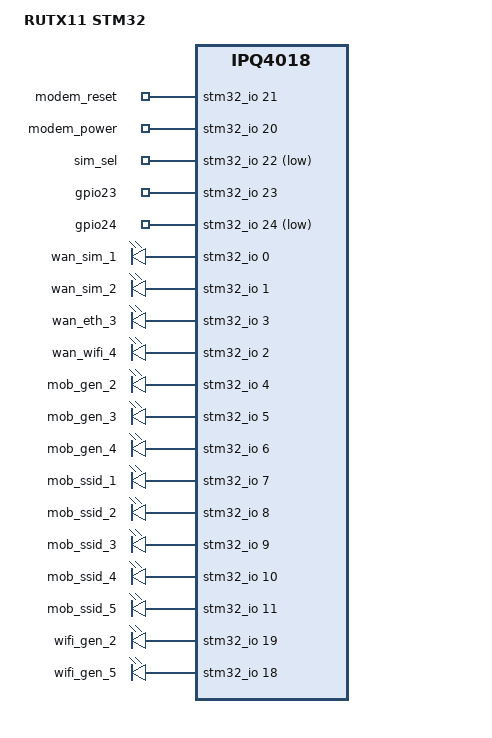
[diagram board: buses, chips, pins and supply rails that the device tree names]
#include "qcom-ipq4018-rutx-STM32.dtsi"

/ {
	model = "RUTX11 STM32";

	soc {
		gpio-export {
			compatible = "gpio-export";
			#size-cells = <0>;

			gpio_modem_reset {
				gpio-export,name = "modem_reset";
				gpio-export,output = <0>;
				gpios = <&stm32_io 21 GPIO_ACTIVE_HIGH>;
			};

			gpio_modem_power {
				gpio-export,name = "modem_power";
				gpio-export,output = <0>;
				gpios = <&stm32_io 20 GPIO_ACTIVE_HIGH>;
			};

			gpio_sim_select {
				gpio-export,name = "sim_sel";
				gpio-export,output = <1>;
				gpios = <&stm32_io 22 GPIO_ACTIVE_LOW>;
			};

			gpio_out_1 {
				gpio-export,name = "gpio23";
				gpio-export,output = <0>;
				gpio-export,direction_may_change;
				gpios = <&stm32_io 23 GPIO_ACTIVE_HIGH>;
			};

			gpio_in_1 {
				gpio-export,name = "gpio24";
				gpio-export,input = <0>;
				gpio-export,direction_may_change;
				gpios = <&stm32_io 24 GPIO_ACTIVE_LOW>;
			};
		};

		leds {
			compatible = "gpio-leds";

			led_wan_sim1 {
				label = "wan_sim_1";
				gpios = <&stm32_io 0 GPIO_ACTIVE_HIGH>;
			};

			led_wan_sim2 {
				label = "wan_sim_2";
				gpios = <&stm32_io 1 GPIO_ACTIVE_HIGH>;
			};

			led_wan_eth {
				label = "wan_eth_3";
				gpios = <&stm32_io 3 GPIO_ACTIVE_HIGH>;
			};

			led_wan_wifi {
				label = "wan_wifi_4";
				gpios = <&stm32_io 2 GPIO_ACTIVE_HIGH>;
			};

			led_gen_2 {
				label = "mob_gen_2";
				gpios = <&stm32_io 4 GPIO_ACTIVE_HIGH>;
			};

			led_gen_3 {
				label = "mob_gen_3";
				gpios = <&stm32_io 5 GPIO_ACTIVE_HIGH>;
			};

			led_gen_4 {
				label = "mob_gen_4";
				gpios = <&stm32_io 6 GPIO_ACTIVE_HIGH>;
			};

			led_ssid_1 {
				label = "mob_ssid_1";
				gpios = <&stm32_io 7 GPIO_ACTIVE_HIGH>;
				linux,default-trigger = "timer";
			};

			led_ssid_2 {
				label = "mob_ssid_2";
				gpios = <&stm32_io 8 GPIO_ACTIVE_HIGH>;
				linux,default-trigger = "timer";
			};

			led_ssid_3 {
				label = "mob_ssid_3";
				gpios = <&stm32_io 9 GPIO_ACTIVE_HIGH>;
				linux,default-trigger = "timer";
			};

			led_ssid_4 {
				label = "mob_ssid_4";
				gpios = <&stm32_io 10 GPIO_ACTIVE_HIGH>;
				linux,default-trigger = "timer";
			};

			led_ssid_5 {
				label = "mob_ssid_5";
				gpios = <&stm32_io 11 GPIO_ACTIVE_HIGH>;
				linux,default-trigger = "timer";
			};

			led_wifi_24 {
				label = "wifi_gen_2";
				gpios = <&stm32_io 19 GPIO_ACTIVE_HIGH>;
			};

			led_wifi_50 {
				label = "wifi_gen_5";
				gpios = <&stm32_io 18 GPIO_ACTIVE_HIGH>;
			};
		};
	};
};
